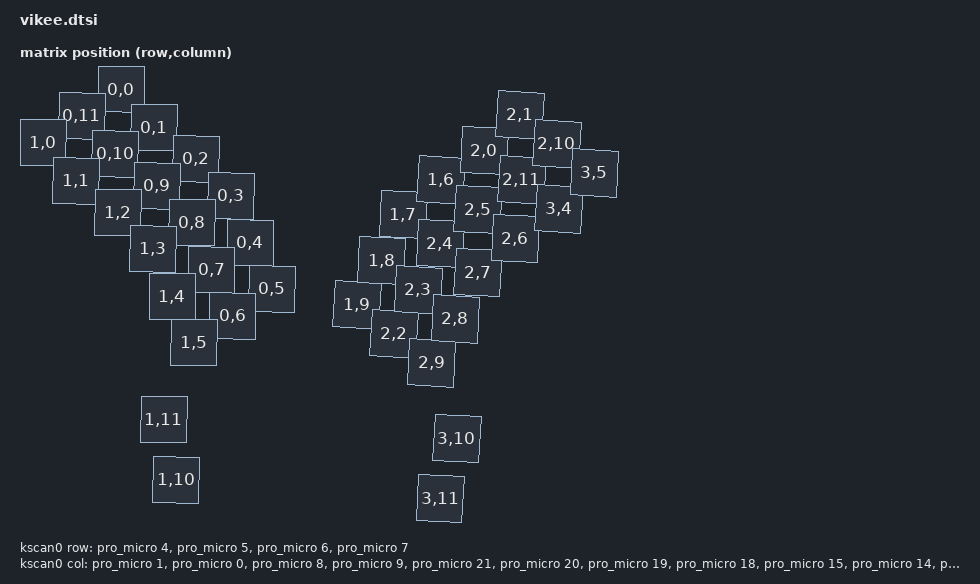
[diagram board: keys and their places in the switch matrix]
#include <dt-bindings/zmk/matrix_transform.h>
#include <physical_layouts.dtsi>

/ {
    chosen {
        zmk,kscan = &kscan0;
        zmk,physical-layout = &vikee_layout;
    };

    vikee_layout: vikee_layout {
      compatible = "zmk,physical-layout";
      display-name = "Default";

      transform = <&default_transform>;

      keys  //                     w   h    x    y     rot    rx    ry
          = <&key_physical_attrs 100 100   155    0      55     0     0>
          , <&key_physical_attrs 100 100   221   76      55     0     0>
          , <&key_physical_attrs 100 100   306  138      55     0     0>
          , <&key_physical_attrs 100 100   377  211      55     0     0>
          , <&key_physical_attrs 100 100   416  305      55     0     0>
          , <&key_physical_attrs 100 100   460  397      55     0     0>
          , <&key_physical_attrs 100 100    77   54      55     0     0>
          , <&key_physical_attrs 100 100   144  130      55     0     0>
          , <&key_physical_attrs 100 100   228  193      55     0     0>
          , <&key_physical_attrs 100 100   299  265      55     0     0>
          , <&key_physical_attrs 100 100   339  360      55     0     0>
          , <&key_physical_attrs 100 100   382  451      55     0     0>
          , <&key_physical_attrs 100 100     0  108      55     0     0>
          , <&key_physical_attrs 100 100    66  184      55     0     0>
          , <&key_physical_attrs 100 100   151  247      55     0     0>
          , <&key_physical_attrs 100 100   222  319      55     0     0>
          , <&key_physical_attrs 100 100   261  414      55     0     0>
          , <&key_physical_attrs 100 100   305  505      55     0     0>
          , <&key_physical_attrs 100 100   250  658      85     0     0>
          , <&key_physical_attrs 100 100   277  779      85     0     0>
          , <&key_physical_attrs 100 100   651  397     305     0     0>
          , <&key_physical_attrs 100 100   695  305     305     0     0>
          , <&key_physical_attrs 100 100   734  211     305     0     0>
          , <&key_physical_attrs 100 100   805  138     305     0     0>
          , <&key_physical_attrs 100 100   889   75     305     0     0>
          , <&key_physical_attrs 100 100   956    0     305     0     0>
          , <&key_physical_attrs 100 100   728  451     305     0     0>
          , <&key_physical_attrs 100 100   772  360     305     0     0>
          , <&key_physical_attrs 100 100   811  265     305     0     0>
          , <&key_physical_attrs 100 100   882  193     305     0     0>
          , <&key_physical_attrs 100 100   967  130     305     0     0>
          , <&key_physical_attrs 100 100  1033   54     305     0     0>
          , <&key_physical_attrs 100 100   806  505     305     0     0>
          , <&key_physical_attrs 100 100   849  414     305     0     0>
          , <&key_physical_attrs 100 100   889  319     305     0     0>
          , <&key_physical_attrs 100 100   960  247     305     0     0>
          , <&key_physical_attrs 100 100  1044  184     305     0     0>
          , <&key_physical_attrs 100 100  1111  108     305     0     0>
          , <&key_physical_attrs 100 100   833  779     275     0     0>
          , <&key_physical_attrs 100 100   861  658     275     0     0>
          ;
    };

    default_transform: keymap_transform_0 {
        compatible = "zmk,matrix-transform";
        columns = <12>;
        rows = <4>;

        map = <
            RC(0,0) RC(0,1) RC(0,2) RC(0,3) RC(0,4) RC(0,5) RC(0,11) RC(0,10) RC(0,9) RC(0,8) RC(0,7) RC(0,6)
            RC(1,0) RC(1,1) RC(1,2) RC(1,3) RC(1,4) RC(1,5) RC(1,11) RC(1,10) RC(1,9) RC(1,8) RC(1,7) RC(1,6)
            RC(2,0) RC(2,1) RC(2,2) RC(2,3) RC(2,4) RC(2,5) RC(2,11) RC(2,10) RC(2,9) RC(2,8) RC(2,7) RC(2,6)
                                            RC(3,4) RC(3,5) RC(3,11) RC(3,10)
        >;
    };

    kscan0: kscan {
        compatible = "zmk,kscan-gpio-matrix";
        wakeup-source;

        diode-direction = "col2row";
        row-gpios
            = <&pro_micro 4 (GPIO_ACTIVE_HIGH | GPIO_PULL_DOWN)>
            , <&pro_micro 5 (GPIO_ACTIVE_HIGH | GPIO_PULL_DOWN)>
            , <&pro_micro 6 (GPIO_ACTIVE_HIGH | GPIO_PULL_DOWN)>
            , <&pro_micro 7 (GPIO_ACTIVE_HIGH | GPIO_PULL_DOWN)>
            ;

        col-gpios
            = <&pro_micro  1 GPIO_ACTIVE_HIGH>
            , <&pro_micro  0 GPIO_ACTIVE_HIGH>
            , <&pro_micro  8 GPIO_ACTIVE_HIGH>
            , <&pro_micro  9 GPIO_ACTIVE_HIGH>
            , <&pro_micro 21 GPIO_ACTIVE_HIGH>
            , <&pro_micro 20 GPIO_ACTIVE_HIGH>
            , <&pro_micro 19 GPIO_ACTIVE_HIGH>
            , <&pro_micro 18 GPIO_ACTIVE_HIGH>
            , <&pro_micro 15 GPIO_ACTIVE_HIGH>
            , <&pro_micro 14 GPIO_ACTIVE_HIGH>
            , <&pro_micro 16 GPIO_ACTIVE_HIGH>
            , <&pro_micro 10 GPIO_ACTIVE_HIGH>
            ;
    };
};
